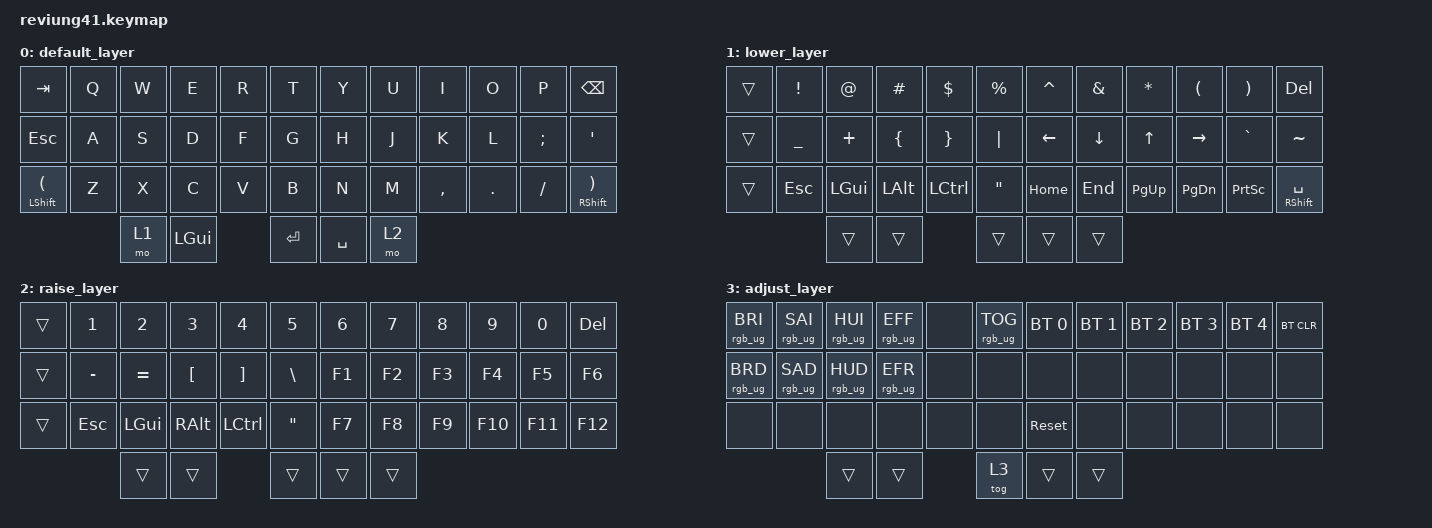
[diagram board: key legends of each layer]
/*
 * Copyright (c) 2020 The ZMK Contributors
 *
 * SPDX-License-Identifier: MIT
 */

#include <behaviors.dtsi>
#include <dt-bindings/zmk/keys.h>
#include <dt-bindings/zmk/bt.h>
#include <dt-bindings/zmk/rgb.h>

/ {
        keymap {
                compatible = "zmk,keymap";

                default_layer {
// -------------------------------------------------------------------------------------
// |  TAB  |  Q  |  W  |  E  |  R  |  T  |   |  Y  |  U   |  I  |  O  |  P  |   BKSP    |
// | ESC   |  A  |  S  |  D  |  F  |  G  |   |  H  |  J   |  K  |  L  |  ;  |    '      |
// | SHFT( |  Z  |  X  |  C  |  V  |  B  |   |  N  |  M   |  ,  |  .  |  /  | SHFT)     |
//                  | LWR |      CMD  |  RET  |  SPACE      | UPR |
                        bindings = <
   &kp TAB        &kp Q &kp W &kp E &kp R &kp T   &kp Y &kp U  &kp I     &kp O   &kp P    &kp BSPC
   &kp ESC        &kp A &kp S &kp D &kp F &kp G   &kp H &kp J  &kp K     &kp L   &kp SEMI &kp SQT
   &mt LSHFT LPAR &kp Z &kp X &kp C &kp V &kp B   &kp N &kp M  &kp COMMA &kp DOT &kp FSLH &mt RSHFT RPAR
                        &mo 1  &kp LGUI &kp RET &kp SPACE  &mo 2
                        >;
                };

                lower_layer {
// ------------------------------------------------------------------------------------
// |    |  !  |  @  |  #  |  $  |  %  |   |  ^  |  &  |  *  |  (  |  )  |      DEL    |
// |    |  _  |  +  |  {  |  }  | "|" |   | LFT | DWN |  UP | RGT |  `  |       ~     |
// |    | ESC | GUI | ALT | CTRL |  "  |   | HOME| END | PGUP| PGDN| PRSC| SHFT(SPACE) |
//                       |     |     |     |     |     |
                        bindings = <
   &trans &kp EXCL  &kp AT      &kp HASH &kp DLLR &kp PRCNT      &kp CARET &kp AMPS &kp ASTRK &kp LPAR  &kp RPAR  &kp DEL
   &trans &kp UNDER &kp PLUS    &kp LBRC &kp RBRC &kp PIPE       &kp LEFT  &kp DOWN &kp UP    &kp RIGHT &kp GRAVE &kp TILDE
   &trans &kp ESC   &kp LGUI    &kp LALT &kp LCTRL &kp DQT        &kp HOME  &kp END  &kp PG_UP &kp PG_DN &kp PSCRN &mt RSHFT SPACE
                                 &trans      &trans       &trans        &trans       &trans
                        >;
                };

                raise_layer {
// ----------------------------------------------------------------------------
// |    |  1  |  2  |  3  |  4  |  5  |   |  6  |  7  |  8  |  9  |  0  | DEL |
// |    |  -  |  =  |  [  |  ]  |  \  |   | F1  | F2  | F3  | F4  | F5  | F6  |
// |    | ESC | GUI | ALT | CTRL|  "  |   | F7  | F8  | F9  | F10 | F11 | F12 |
//                       |     |     |      |    |     |
                        bindings = <
   &trans &kp N1    &kp N2    &kp N3    &kp N4    &kp N5        &kp N6    &kp N7    &kp N8    &kp N9    &kp N0    &kp DEL
   &trans &kp MINUS &kp EQUAL &kp LBKT  &kp RBKT  &kp BSLH      &kp F1    &kp F2    &kp F3    &kp F4    &kp F5    &kp F6
   &trans &kp ESC   &kp LGUI  &kp RALT  &kp LCTRL  &kp DQT       &kp F7    &kp F8    &kp F9    &kp F10   &kp F11   &kp F12
                                &trans      &trans       &trans        &trans      &trans
                        >;
                };

                adjust_layer {
// -----------------------------------------------------------------------------------------
// | RGB BRI+ | RGB SAT+ | RGB HUE+ | RGB ANI+ |    | RGB TOG |   |  BT1  | BT2 | BT3 | BT4 | BT5 | BT CLR |
// | RGB BRI- | RGB SAT- | RGB HUE- | RGB ANI- |    |         |   |       |     |     |     |     |        |
// |          |          |          |          |    |         |   | RESET |     |     |     |     |        |
//                                              |     |     |     |     |     |
                        bindings = <
   &rgb_ug RGB_BRI &rgb_ug RGB_SAI &rgb_ug RGB_HUI &rgb_ug RGB_EFF &none &rgb_ug RGB_TOG    &bt BT_SEL 0 &bt BT_SEL 1 &bt BT_SEL 2 &bt BT_SEL 3 &bt BT_SEL 4 &bt BT_CLR
   &rgb_ug RGB_BRD &rgb_ug RGB_SAD &rgb_ug RGB_HUD &rgb_ug RGB_EFR &none &none              &none        &none        &none        &none        &none        &none
   &none           &none           &none           &none           &none &none              &sys_reset       &none        &none        &none        &none        &none
                                                             &trans      &trans       &tog 3        &trans      &trans
                        >;
                };
        };
};
